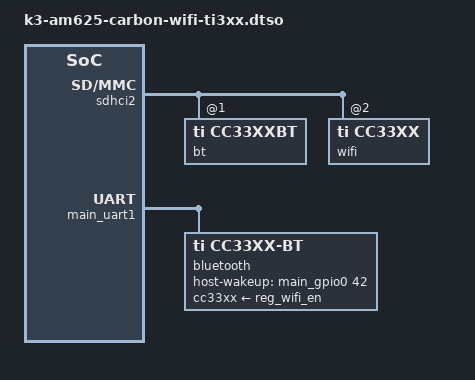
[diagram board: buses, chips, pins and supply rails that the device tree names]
// SPDX-License-Identifier: (GPL-2.0+ OR MIT)
/*
 * Copyright 2024 Ezurio
 */

/dts-v1/;
/plugin/;

#include <dt-bindings/gpio/gpio.h>
#include <dt-bindings/interrupt-controller/irq.h>

&reg_slow_clock {
	status = "okay";
};

&reg_wifi_en {
	status = "okay";
	startup-delay-us = <10000>;
};

&sdhci2 { /* SDIO_B  WIFI */
	status = "okay";

	cap-power-off-card;

	#address-cells = <1>;
	#size-cells = <0>;

	bt@1 {
		reg = <1>;
		compatible = "ti,cc33xxbt";
	};

	wifi@2 {
		reg = <2>;
		compatible = "ti,cc33xx";

		pinctrl-names = "default";
		pinctrl-0 = <&main_wifi_wake_default>;
		//interrupts-extended = <&main_gpio0 16 IRQ_TYPE_EDGE_RISING>;
	};
};

&main_uart1 {
 	status = "okay";

	bluetooth {
		compatible = "ti,cc33xx-bt";
		cc33xx-supply = <&reg_wifi_en>;
		max-speed = <115200>;

		pinctrl-names = "default";
		pinctrl-0 = <&main_bt_wake_pins_default>;
		host-wakeup-gpios = <&main_gpio0 42 GPIO_ACTIVE_HIGH>;
	};
};
